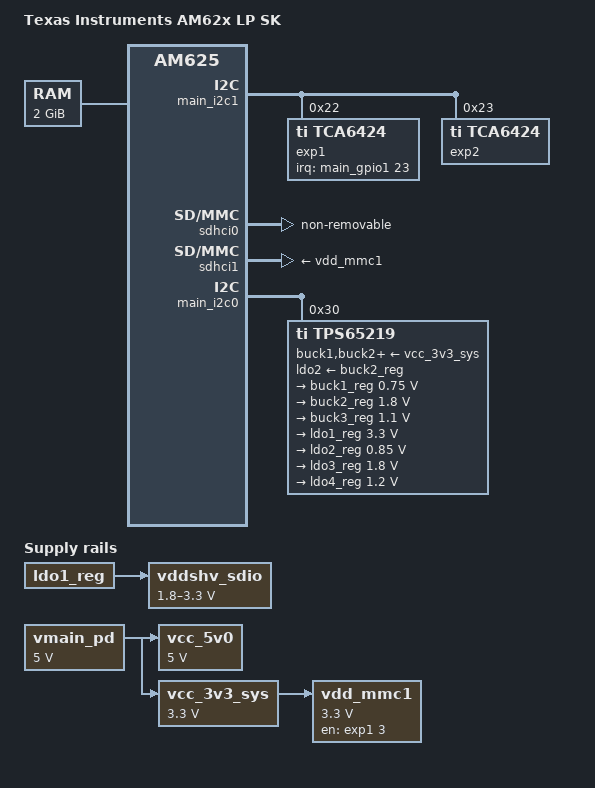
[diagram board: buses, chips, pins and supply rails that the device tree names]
// SPDX-License-Identifier: GPL-2.0-only OR MIT
/*
 * AM62x LP SK: https://www.ti.com/tool/SK-AM62-LP
 *
 * Copyright (C) 2021-2024 Texas Instruments Incorporated - https://www.ti.com/
 */

/dts-v1/;

#include "k3-am625.dtsi"
#include "k3-am62x-sk-common.dtsi"

/ {
	compatible = "ti,am62-lp-sk", "ti,am625";
	model = "Texas Instruments AM62x LP SK";

	memory@80000000 {
		/* 2G RAM */
		reg = <0x00000000 0x80000000 0x00000000 0x80000000>;
		device_type = "memory";
		bootph-pre-ram;
	};

	vmain_pd: regulator-0 {
		/* TPS65988 PD CONTROLLER OUTPUT */
		compatible = "regulator-fixed";
		regulator-name = "vmain_pd";
		regulator-min-microvolt = <5000000>;
		regulator-max-microvolt = <5000000>;
		regulator-always-on;
		regulator-boot-on;
	};

	vcc_5v0: regulator-1 {
		/* Output of TPS630702RNMR */
		compatible = "regulator-fixed";
		regulator-name = "vcc_5v0";
		regulator-min-microvolt = <5000000>;
		regulator-max-microvolt = <5000000>;
		vin-supply = <&vmain_pd>;
		regulator-always-on;
		regulator-boot-on;
	};

	vcc_3v3_sys: regulator-2 {
		/* output of LM61460-Q1 */
		compatible = "regulator-fixed";
		regulator-name = "vcc_3v3_sys";
		regulator-min-microvolt = <3300000>;
		regulator-max-microvolt = <3300000>;
		vin-supply = <&vmain_pd>;
		regulator-always-on;
		regulator-boot-on;
	};

	vdd_mmc1: regulator-3 {
		/* TPS22918DBVR */
		compatible = "regulator-fixed";
		regulator-name = "vdd_mmc1";
		regulator-min-microvolt = <3300000>;
		regulator-max-microvolt = <3300000>;
		regulator-boot-on;
		enable-active-high;
		vin-supply = <&vcc_3v3_sys>;
		gpio = <&exp1 3 GPIO_ACTIVE_HIGH>;
	};

	vddshv_sdio: regulator-4 {
		compatible = "regulator-gpio";
		regulator-name = "vddshv_sdio";
		pinctrl-names = "default";
		pinctrl-0 = <&vddshv_sdio_pins_default>;
		regulator-min-microvolt = <1800000>;
		regulator-max-microvolt = <3300000>;
		regulator-boot-on;
		vin-supply = <&ldo1_reg>;
		gpios = <&main_gpio0 31 GPIO_ACTIVE_HIGH>;
		states = <1800000 0x0>,
			 <3300000 0x1>;
		bootph-all;
	};
};

&main_pmx0 {
	main_mmc0_pins_default: main-mmc0-default-pins {
		bootph-all;
		pinctrl-single,pins = <
			AM62X_IOPAD(0x220, PIN_INPUT, 0) /* (V3) MMC0_CMD */
			AM62X_IOPAD(0x218, PIN_INPUT, 0) /* (Y1) MMC0_CLK */
			AM62X_IOPAD(0x214, PIN_INPUT, 0) /* (V2) MMC0_DAT0 */
			AM62X_IOPAD(0x210, PIN_INPUT, 0) /* (V1) MMC0_DAT1 */
			AM62X_IOPAD(0x20c, PIN_INPUT, 0) /* (W2) MMC0_DAT2 */
			AM62X_IOPAD(0x208, PIN_INPUT, 0) /* (W1) MMC0_DAT3 */
			AM62X_IOPAD(0x204, PIN_INPUT, 0) /* (Y2) MMC0_DAT4 */
			AM62X_IOPAD(0x200, PIN_INPUT, 0) /* (W3) MMC0_DAT5 */
			AM62X_IOPAD(0x1fc, PIN_INPUT, 0) /* (W4) MMC0_DAT6 */
			AM62X_IOPAD(0x1f8, PIN_INPUT, 0) /* (V4) MMC0_DAT7 */
		>;
	};

	vddshv_sdio_pins_default: vddshv-sdio-default-pins {
		pinctrl-single,pins = <
			AM62X_IOPAD(0x07c, PIN_OUTPUT, 7) /* (M19) GPMC0_CLK.GPIO0_31 */
		>;
		bootph-all;
	};

	main_gpio1_ioexp_intr_pins_default: main-gpio1-ioexp-intr-default-pins {
		pinctrl-single,pins = <
			AM62X_IOPAD(0x01d4, PIN_INPUT, 7) /* (C13) UART0_RTSn.GPIO1_23 */
		>;
		bootph-all;
	};

	pmic_irq_pins_default: pmic-irq-default-pins {
		pinctrl-single,pins = <
			AM62X_IOPAD(0x01f4, PIN_INPUT, 0) /* (B16) EXTINTn */
		>;
	};
};

&main_i2c1 {
	exp1: gpio@22 {
		compatible = "ti,tca6424";
		reg = <0x22>;
		gpio-controller;
		#gpio-cells = <2>;
		gpio-line-names = "GPIO_CPSW2_RST", "GPIO_CPSW1_RST",
				   "PRU_DETECT", "MMC1_SD_EN",
				   "VPP_LDO_EN", "EXP_PS_3V3_En",
				   "EXP_PS_5V0_En", "EXP_HAT_DETECT",
				   "GPIO_AUD_RSTn", "GPIO_eMMC_RSTn",
				   "UART1_FET_BUF_EN", "BT_UART_WAKE_SOC",
				   "GPIO_HDMI_RSTn", "CSI_GPIO0",
				   "CSI_GPIO1", "GPIO_OLDI_INT",
				   "HDMI_INTn", "TEST_GPIO2",
				   "MCASP1_FET_EN", "MCASP1_BUF_BT_EN",
				   "MCASP1_FET_SEL", "UART1_FET_SEL",
				   "", "IO_EXP_TEST_LED";

		interrupt-parent = <&main_gpio1>;
		interrupts = <23 IRQ_TYPE_EDGE_FALLING>;
		interrupt-controller;
		#interrupt-cells = <2>;

		pinctrl-names = "default";
		pinctrl-0 = <&main_gpio1_ioexp_intr_pins_default>;
		bootph-all;
	};

	exp2: gpio@23 {
		compatible = "ti,tca6424";
		reg = <0x23>;
		gpio-controller;
		#gpio-cells = <2>;
		gpio-line-names = "", "",
				   "", "",
				   "", "",
				   "", "",
				   "WL_LT_EN", "CSI_RSTz",
				   "", "",
				   "", "",
				   "", "",
				   "SPI0_FET_SEL", "SPI0_FET_OE",
				   "GPIO_OLDI_RSTn", "PRU_3V3_EN",
				   "", "",
				   "CSI_VLDO_SEL", "SOC_WLAN_SDIO_RST";
	};
};

&sdhci0 {
	bootph-all;
	non-removable;
	pinctrl-names = "default";
	pinctrl-0 = <&main_mmc0_pins_default>;
	status = "okay";
};

&sdhci1 {
	vmmc-supply = <&vdd_mmc1>;
	vqmmc-supply = <&vddshv_sdio>;
};

&cpsw_port2 {
	status = "disabled";
};

&main_i2c0 {
	tps65219: pmic@30 {
		compatible = "ti,tps65219";
		reg = <0x30>;
		buck1-supply = <&vcc_3v3_sys>;
		buck2-supply = <&vcc_3v3_sys>;
		buck3-supply = <&vcc_3v3_sys>;
		ldo1-supply = <&vcc_3v3_sys>;
		ldo2-supply = <&buck2_reg>;
		ldo3-supply = <&vcc_3v3_sys>;
		ldo4-supply = <&vcc_3v3_sys>;

		pinctrl-names = "default";
		pinctrl-0 = <&pmic_irq_pins_default>;

		interrupt-parent = <&gic500>;
		interrupts = <GIC_SPI 224 IRQ_TYPE_LEVEL_HIGH>;

		regulators {
			buck1_reg: buck1 {
				regulator-name = "VDD_CORE";
				regulator-min-microvolt = <750000>;
				regulator-max-microvolt = <750000>;
				regulator-boot-on;
				regulator-always-on;
			};

			buck2_reg: buck2 {
				regulator-name = "VCC1V8_SYS";
				regulator-min-microvolt = <1800000>;
				regulator-max-microvolt = <1800000>;
				regulator-boot-on;
				regulator-always-on;
			};

			buck3_reg: buck3 {
				regulator-name = "VDD_LPDDR4";
				regulator-min-microvolt = <1100000>;
				regulator-max-microvolt = <1100000>;
				regulator-boot-on;
				regulator-always-on;
			};

			ldo1_reg: ldo1 {
				regulator-name = "VDDSHV_SDIO";
				regulator-min-microvolt = <3300000>;
				regulator-max-microvolt = <3300000>;
			};

			ldo2_reg: ldo2 {
				regulator-name = "VDDAR_CORE";
				regulator-min-microvolt = <850000>;
				regulator-max-microvolt = <850000>;
				regulator-boot-on;
				regulator-always-on;
			};

			ldo3_reg: ldo3 {
				regulator-name = "VDDA_1V8";
				regulator-min-microvolt = <1800000>;
				regulator-max-microvolt = <1800000>;
				regulator-boot-on;
				regulator-always-on;
			};

			ldo4_reg: ldo4 {
				regulator-name = "VDD_1V2";
				regulator-min-microvolt = <1200000>;
				regulator-max-microvolt = <1200000>;
				regulator-boot-on;
				regulator-always-on;
			};
		};
	};
};

&tlv320aic3106 {
	DVDD-supply = <&buck2_reg>;
};

&main_gpio0 {
	bootph-all;
};

&main_gpio1 {
	bootph-all;
};

&gpmc0 {
	ranges = <0 0 0x00 0x51000000 0x01000000>; /* CS0 space. Min partition = 16MB */
};
